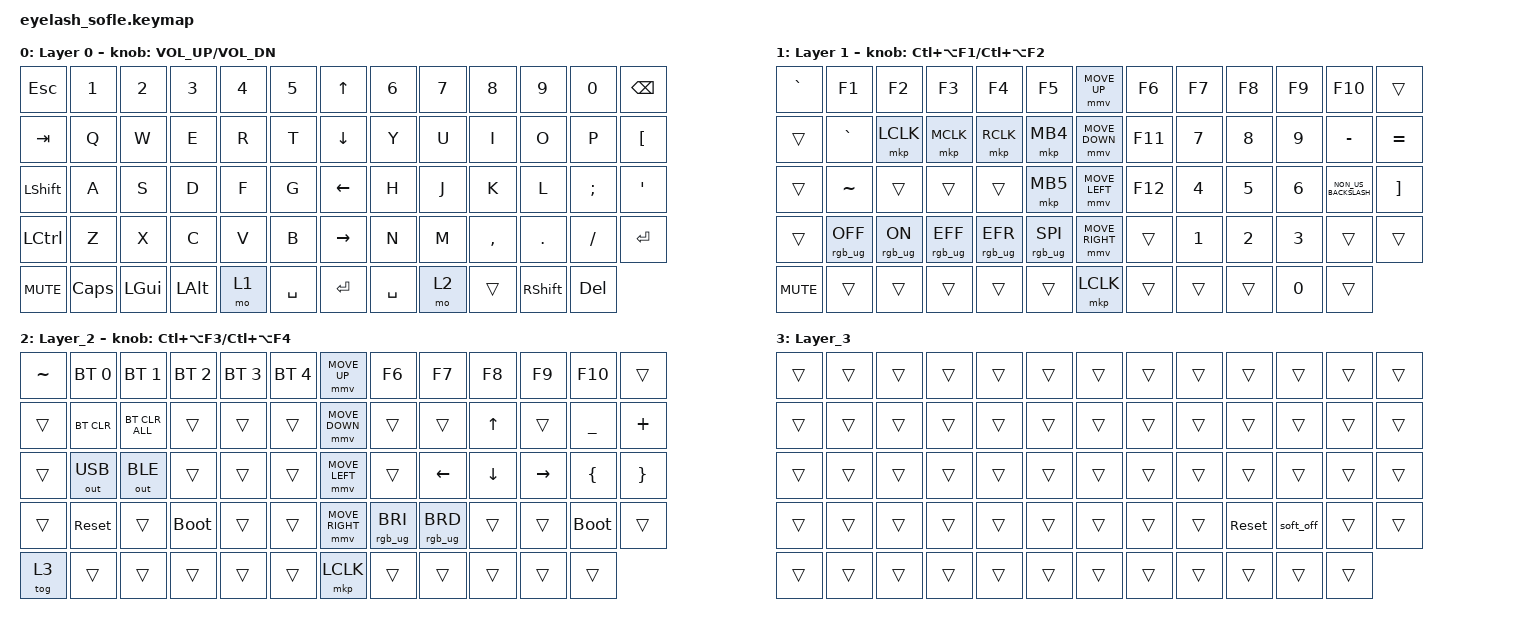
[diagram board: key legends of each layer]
#define ZMK_POINTING_DEFAULT_MOVE_VAL 1200  // 600
#define ZMK_POINTING_DEFAULT_SCRL_VAL 35    // 10

#include <input/processors.dtsi>
#include <zephyr/dt-bindings/input/input-event-codes.h>
#include <behaviors.dtsi>
#include <dt-bindings/zmk/bt.h>
#include <dt-bindings/zmk/keys.h>
#include <dt-bindings/zmk/outputs.h>
#include <dt-bindings/zmk/pointing.h>
#include <dt-bindings/zmk/rgb.h>

/ {
    zip_scroll_scaler: zip_scroll_scaler {
        compatible = "zmk,input-processor-scaler";
        #input-processor-cells = <2>;
        type = <INPUT_EV_REL>;
        codes = <INPUT_REL_WHEEL INPUT_REL_HWHEEL>;
        track-remainders;
    };
};

&mmv_input_listener { input-processors = <&zip_xy_scaler 2 1>; };

&msc_input_listener { input-processors = <&zip_scroll_scaler 2 1>; };

&msc {
    acceleration-exponent = <0>;      // 0
    time-to-max-speed-ms = <0>;       // 300
    delay-ms = <0>;                   // 0
};

&mmv {
    time-to-max-speed-ms = <400>;
    acceleration-exponent = <1>;
};

/ {
    scroll_encoder: scroll_encoder {
        compatible = "zmk,behavior-sensor-rotate";
        #sensor-binding-cells = <0>;
        bindings = <&msc SCRL_DOWN>, <&msc SCRL_UP>;

        tap-ms = <30>;
    };

    behaviors {
    };

    combos {
        compatible = "zmk,combos";

        LBracket {
            bindings = <&kp LEFT_BRACKET>;
            key-positions = <23 24>;
            layers = <0>;
        };

        RBracket {
            bindings = <&kp RIGHT_BRACKET>;
            key-positions = <24 25>;
        };
    };

    keymap {
        compatible = "zmk,keymap";

        Layer_0 {
            bindings = <
&kp ESC         &kp N1    &kp N2        &kp N3        &kp N4  &kp N5       &kp UP_ARROW     &kp N6     &kp N7  &kp N8     &kp N9           &kp N0      &kp BACKSPACE
&kp TAB         &kp Q     &kp W         &kp E         &kp R   &kp T        &kp DOWN_ARROW   &kp Y      &kp U   &kp I      &kp O            &kp P       &kp LEFT_BRACKET
&kp LEFT_SHIFT  &kp A     &kp S         &kp D         &kp F   &kp G        &kp LEFT_ARROW   &kp H      &kp J   &kp K      &kp L            &kp SEMI    &kp APOS
&kp LCTRL       &kp Z     &kp X         &kp C         &kp V   &kp B        &kp RIGHT_ARROW  &kp N      &kp M   &kp COMMA  &kp DOT          &kp FSLH    &kp ENTER
&kp C_MUTE      &kp CLCK  &kp LEFT_GUI  &kp LEFT_ALT  &mo 1   &kp SPACE    &kp ENTER        &kp SPACE  &mo 2   &trans     &kp RIGHT_SHIFT  &kp DELETE
            >;

            sensor-bindings = <&inc_dec_kp C_VOLUME_UP C_VOL_DN>;
            display-name = "Layer 0";
        };

        Layer_1 {
            bindings = <
&kp GRAVE   &kp F1           &kp F2          &kp F3           &kp F4           &kp F5             &mmv MOVE_UP     &kp F6   &kp F7  &kp F8  &kp F9  &kp F10               &trans
&trans      &kp GRAVE        &mkp LCLK       &mkp MCLK        &mkp RCLK        &mkp MB4           &mmv MOVE_DOWN   &kp F11  &kp N7  &kp N8  &kp N9  &kp MINUS             &kp EQUAL
&trans      &kp TILDE        &trans          &trans           &trans           &mkp MB5           &mmv MOVE_LEFT   &kp F12  &kp N4  &kp N5  &kp N6  &kp NON_US_BACKSLASH  &kp RIGHT_BRACKET
&trans      &rgb_ug RGB_OFF  &rgb_ug RGB_ON  &rgb_ug RGB_EFF  &rgb_ug RGB_EFR  &rgb_ug RGB_SPI    &mmv MOVE_RIGHT  &trans   &kp N1  &kp N2  &kp N3  &trans                &trans
&kp C_MUTE  &trans           &trans          &trans           &trans           &trans             &mkp LCLK        &trans   &trans  &trans  &kp N0  &trans
            >;

            display-name = "Layer 1";
            sensor-bindings = <&inc_dec_kp LC(LA(F1)) LC(LA(F2))>;
        };

        Layer_2 {
            bindings = <
&kp TILDE  &bt BT_SEL 0  &bt BT_SEL 1    &bt BT_SEL 2  &bt BT_SEL 3  &bt BT_SEL 4    &mmv MOVE_UP     &kp F6           &kp F7           &kp F8          &kp F9           &kp F10      &trans
&trans     &bt BT_CLR    &bt BT_CLR_ALL  &trans        &trans        &trans          &mmv MOVE_DOWN   &trans           &trans           &kp UP_ARROW    &trans           &kp UNDER    &kp PLUS
&trans     &out OUT_USB  &out OUT_BLE    &trans        &trans        &trans          &mmv MOVE_LEFT   &trans           &kp LEFT_ARROW   &kp DOWN_ARROW  &kp RIGHT_ARROW  &kp LBRC     &kp RBRC
&trans     &sys_reset    &trans          &bootloader   &trans        &trans          &mmv MOVE_RIGHT  &rgb_ug RGB_BRI  &rgb_ug RGB_BRD  &trans          &trans           &bootloader  &trans
&tog 3     &trans        &trans          &trans        &trans        &trans          &mkp LCLK        &trans           &trans           &trans          &trans           &trans
            >;

            sensor-bindings = <&inc_dec_kp LC(LA(F3)) LC(LA(F4))>;
        };

        Layer_3 {
            bindings = <
&trans  &trans  &trans  &trans  &trans  &trans    &trans  &trans  &trans  &trans      &trans     &trans  &trans
&trans  &trans  &trans  &trans  &trans  &trans    &trans  &trans  &trans  &trans      &trans     &trans  &trans
&trans  &trans  &trans  &trans  &trans  &trans    &trans  &trans  &trans  &trans      &trans     &trans  &trans
&trans  &trans  &trans  &trans  &trans  &trans    &trans  &trans  &trans  &sys_reset  &soft_off  &trans  &trans
&trans  &trans  &trans  &trans  &trans  &trans    &trans  &trans  &trans  &trans      &trans     &trans
            >;
        };
    };
};
